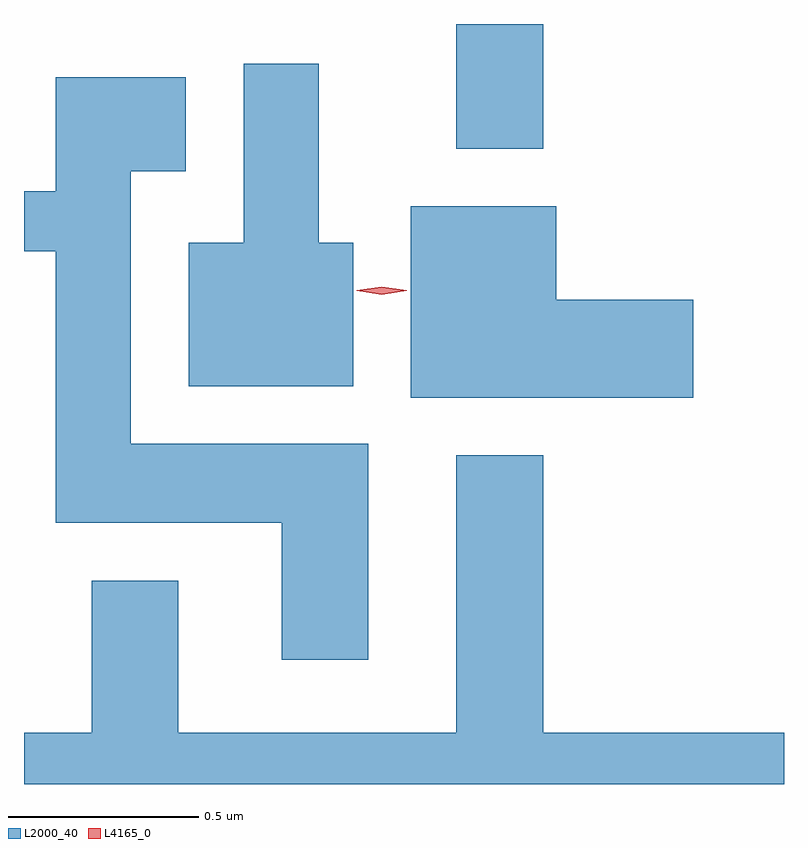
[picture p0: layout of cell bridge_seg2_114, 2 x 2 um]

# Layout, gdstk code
import gdstk
lib = gdstk.Library(unit=1e-6, precision=1e-09)
def R(c, l, rs):  # rectangles x0, y0, x1, y1
    for r in rs: c.add(gdstk.rectangle(r[:2], r[2:], *l))
def P(c, l, *ps):  # polygons
    for p in ps: c.add(gdstk.Polygon(p, *l))
L2000_40 = (2000, 40)
L4165_0 = (4165, 0)

bridge_seg2_114 = lib.new_cell('bridge_seg2_114')
R(bridge_seg2_114, L2000_40, [(916.021,1067.881,916.249,1068.209)])
P(bridge_seg2_114, L2000_40, [(915.749,1067.634),(915.659,1067.634),(915.659,1068.104),(915.461,1068.104),(915.461,1067.634),(915.316,1067.634),(915.316,1067.256),(915.749,1067.256)],
  [(915.789,1067.104),(915.164,1067.104),(915.164,1067.821),(915.309,1067.821),(915.309,1068.069),(914.966,1068.069),(914.966,1067.769),(914.883,1067.769),(914.883,1067.611),(914.966,1067.611),(914.966,1066.896),(915.561,1066.896),(915.561,1066.536),(915.789,1066.536)],
  [(916.644,1067.484),(916.284,1067.484),(916.284,1067.729),(915.901,1067.729),(915.901,1067.226),(916.644,1067.226)],
  [(916.883,1066.344),(916.249,1066.344),(916.249,1067.074),(916.021,1067.074),(916.021,1066.344),(915.289,1066.344),(915.289,1066.744),(915.061,1066.744),(915.061,1066.344),(914.883,1066.344),(914.883,1066.209),(916.883,1066.209)])
P(bridge_seg2_114, L4165_0, [(915.824,1067.497),(915.759,1067.507),(915.758,1067.507),(915.759,1067.508),(915.824,1067.517),(915.89,1067.508),(915.89,1067.507),(915.89,1067.507)])

lib.write_gds('bridge_seg2_114.gds')
